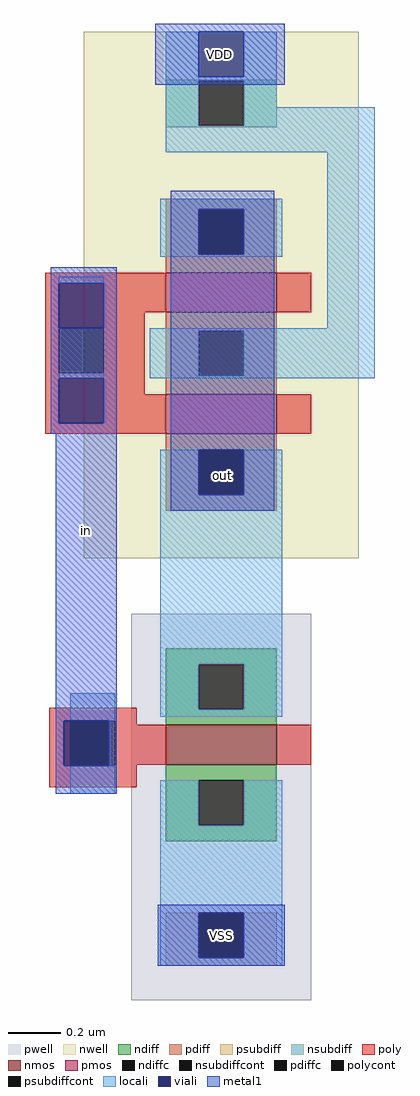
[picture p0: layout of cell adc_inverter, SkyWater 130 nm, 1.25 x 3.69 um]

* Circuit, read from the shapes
.subckt adc_inverter in out VDD VSS
XM1 out in VSS VSS sky130_fd_pr__nfet_01v8 w=0.42 l=0.15
XM2 VDD in out VDD sky130_fd_pr__pfet_01v8 w=0.42 l=0.15 m=2
.ends

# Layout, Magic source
magic
tech sky130A
magscale 1 2
<< nwell >>
rect 0 178 208 576
<< pwell >>
rect 36 -156 172 136
<< nmos >>
rect 62 22 146 52
<< pmos >>
rect 62 364 146 394
rect 62 272 146 302
<< ndiff >>
rect 62 98 146 110
rect 62 64 87 98
rect 121 64 146 98
rect 62 52 146 64
rect 62 10 146 22
rect 62 -24 87 10
rect 121 -24 146 10
rect 62 -36 146 -24
<< pdiff >>
rect 62 442 146 450
rect 62 408 87 442
rect 121 408 146 442
rect 62 394 146 408
rect 62 350 146 364
rect 62 316 87 350
rect 121 316 146 350
rect 62 302 146 316
rect 62 260 146 272
rect 62 226 87 260
rect 121 226 146 260
rect 62 214 146 226
<< ndiffc >>
rect 87 64 121 98
rect 87 -24 121 10
<< pdiffc >>
rect 87 408 121 442
rect 87 316 121 350
rect 87 226 121 260
<< psubdiff >>
rect 62 -124 87 -90
rect 121 -124 146 -90
rect 62 -130 146 -124
<< nsubdiff >>
rect 62 539 146 540
rect 62 505 87 539
rect 121 505 146 539
rect 62 504 146 505
<< psubdiffcont >>
rect 87 -124 121 -90
<< nsubdiffcont >>
rect 87 505 121 539
<< poly >>
rect -29 364 62 394
rect 146 364 172 394
rect -29 352 46 364
rect -29 318 -19 352
rect 15 318 46 352
rect -29 302 46 318
rect -29 272 62 302
rect 146 272 172 302
rect -26 55 40 65
rect -26 21 -10 55
rect 24 52 40 55
rect 24 22 62 52
rect 146 22 172 52
rect 24 21 40 22
rect -26 5 40 21
<< polycont >>
rect -19 318 15 352
rect -10 21 24 55
<< locali >>
rect 62 542 87 576
rect 121 542 146 576
rect 62 539 146 542
rect 62 505 87 539
rect 121 519 146 539
rect 121 505 220 519
rect 62 485 220 505
rect 58 442 150 450
rect 58 408 87 442
rect 121 408 150 442
rect 58 406 150 408
rect -19 386 15 391
rect 184 352 220 485
rect -19 314 15 318
rect 50 350 220 352
rect 50 316 87 350
rect 121 316 220 350
rect 50 314 220 316
rect 58 226 87 260
rect 121 226 150 260
rect 58 98 150 226
rect -10 55 24 76
rect 58 64 87 98
rect 121 64 150 98
rect 58 58 150 64
rect -10 0 24 21
rect 58 -24 87 10
rect 121 -24 150 10
rect 58 -90 150 -24
rect 58 -124 87 -90
rect 121 -124 150 -90
rect 58 -130 150 -124
<< viali >>
rect 87 542 121 576
rect 87 408 121 442
rect -19 352 15 386
rect -19 280 15 314
rect 87 226 121 260
rect -15 21 -10 55
rect -10 21 19 55
rect 87 -124 121 -90
<< metal1 >>
rect 54 576 152 582
rect 54 542 87 576
rect 121 542 152 576
rect 54 536 152 542
rect 66 442 144 456
rect 66 408 87 442
rect 121 408 144 442
rect -25 386 25 398
rect -25 352 -19 386
rect 15 352 25 386
rect -25 314 25 352
rect -25 280 -19 314
rect 15 280 25 314
rect -25 272 25 280
rect -21 55 25 272
rect 66 260 144 408
rect 66 226 87 260
rect 121 226 144 260
rect 66 214 144 226
rect -21 21 -15 55
rect 19 21 25 55
rect -21 0 25 21
rect 56 -90 152 -84
rect 56 -124 87 -90
rect 121 -124 152 -90
rect 56 -130 152 -124
<< labels >>
flabel metal1 s -21 0 25 398 0 FreeSans 200 0 0 0 in
port 1 nsew
flabel metal1 s 66 214 144 267 0 FreeSans 200 0 0 0 out
port 2 nsew
flabel metal1 s 54 536 152 582 0 FreeSans 200 0 0 0 VDD
port 3 nsew
flabel metal1 s 56 -130 152 -84 0 FreeSans 200 0 0 0 VSS
port 4 nsew
<< properties >>
string GDS_END 524172
string GDS_FILE adc_top.gds.gz
string GDS_START 520522
<< end >>
